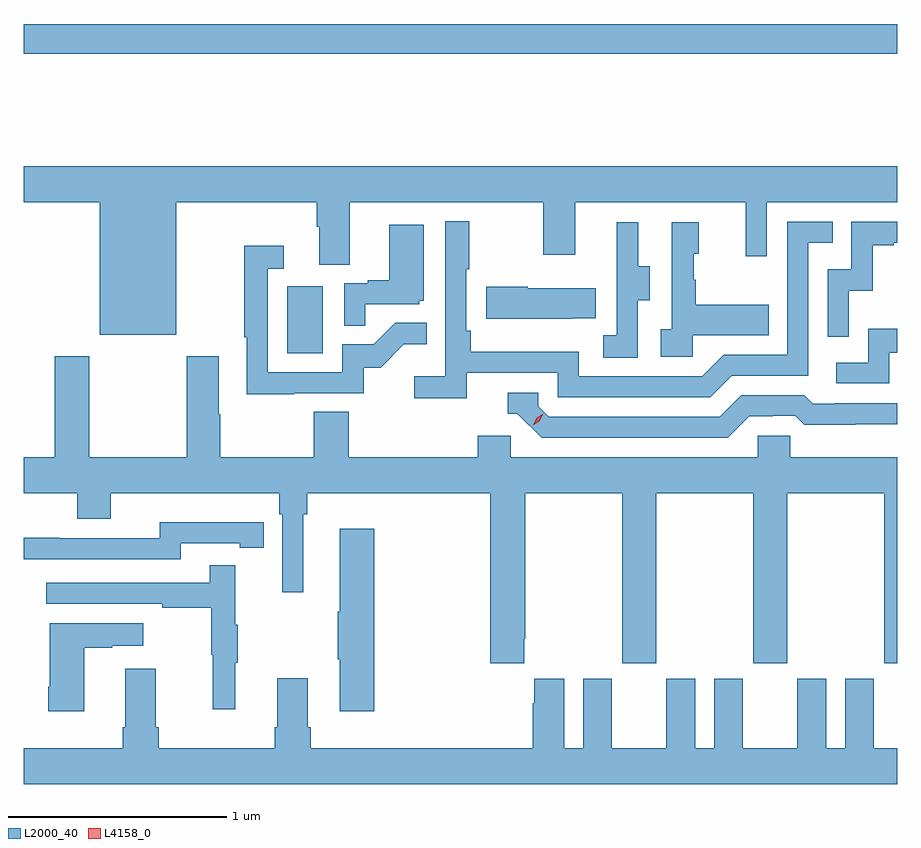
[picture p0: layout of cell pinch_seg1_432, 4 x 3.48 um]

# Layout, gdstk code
import gdstk
lib = gdstk.Library(unit=1e-6, precision=1e-09)
def R(c, l, rs):  # rectangles x0, y0, x1, y1
    for r in rs: c.add(gdstk.rectangle(r[:2], r[2:], *l))
def P(c, l, *ps):  # polygons
    for p in ps: c.add(gdstk.Polygon(p, *l))
L2000_40 = (2000, 40)
L4158_0 = (4158, 0)

pinch_seg1_432 = lib.new_cell('pinch_seg1_432')
R(pinch_seg1_432, L2000_40, [(925.67,523.068,925.834,523.375), (924.464,524.44,928.464,524.576)])
P(pinch_seg1_432, L2000_40, [(925.162,523.76),(925.805,523.76),(925.805,523.648),(925.817,523.648),(925.817,523.474),(925.957,523.474),(925.957,523.76),(926.842,523.76),(926.842,523.52),(926.989,523.52),(926.989,523.76),(927.77,523.76),(927.77,523.512),(927.867,523.512),(927.867,523.76),(928.464,523.76),(928.464,523.924),(924.464,523.924),(924.464,523.76),(924.812,523.76),(924.812,523.154),(925.162,523.154)],
  [(926.492,522.978),(926.91,522.978),(926.91,522.867),(927.607,522.867),(927.706,522.966),(928.056,522.966),(928.056,523.575),(928.169,523.575),(928.169,523.671),(927.96,523.671),(927.96,523.062),(927.669,523.062),(927.57,522.963),(927.006,522.963),(927.006,523.075),(926.51,523.075),(926.51,523.171),(926.49,523.171),(926.49,523.453),(926.503,523.453),(926.503,523.672),(926.394,523.672),(926.394,522.964),(926.253,522.964),(926.253,522.862),(926.492,522.862)],
  [(928.242,523.355),(928.352,523.355),(928.352,523.563),(928.447,523.563),(928.447,523.575),(928.464,523.575),(928.464,523.671),(928.254,523.671),(928.254,523.452),(928.146,523.452),(928.146,523.143),(928.242,523.143)],
  [(927.276,523.312),(927.331,523.312),(927.331,523.467),(927.277,523.467),(927.277,523.669),(927.179,523.669),(927.179,523.455),(927.18,523.455),(927.18,523.151),(927.117,523.151),(927.117,523.048),(927.276,523.048)],
  [(927.528,523.151),(927.875,523.151),(927.875,523.291),(927.541,523.291),(927.541,523.406),(927.531,523.406),(927.531,523.524),(927.556,523.524),(927.556,523.669),(927.432,523.669),(927.432,523.178),(927.381,523.178),(927.381,523.053),(927.528,523.053)],
  [(926.027,523.293),(926.274,523.293),(926.274,523.308),(926.296,523.308),(926.296,523.657),(926.138,523.657),(926.138,523.402),(926.039,523.402),(926.039,523.389),(925.932,523.389),(925.932,523.195),(926.027,523.195)],
  [(925.703,522.885),(926.022,522.885),(926.022,523.002),(926.098,523.002),(926.205,523.109),(926.309,523.109),(926.309,523.208),(926.165,523.208),(926.067,523.11),(925.923,523.11),(925.923,522.981),(925.581,522.981),(925.581,523.455),(925.654,523.455),(925.654,523.561),(925.473,523.561),(925.473,523.141),(925.485,523.141),(925.485,522.88),(925.703,522.88)],
  [(926.975,523.229),(927.083,523.229),(927.083,523.366),(926.773,523.366),(926.773,523.374),(926.582,523.374),(926.582,523.226),(926.975,523.226)],
  [(928.428,523.071),(928.464,523.071),(928.464,523.18),(928.332,523.18),(928.332,523.026),(928.185,523.026),(928.185,522.93),(928.428,522.93)],
  [(926.755,521.761),(926.76,521.761),(926.76,522.428),(927.205,522.428),(927.205,521.649),(927.36,521.649),(927.36,522.428),(927.805,522.428),(927.805,521.649),(927.96,521.649),(927.96,522.428),(928.405,522.428),(928.405,521.649),(928.464,521.649),(928.464,522.592),(927.975,522.592),(927.975,522.69),(927.825,522.69),(927.825,522.592),(926.694,522.592),(926.694,522.69),(926.543,522.69),(926.543,522.592),(925.952,522.592),(925.952,522.8),(925.792,522.8),(925.792,522.592),(925.365,522.592),(925.365,522.788),(925.357,522.788),(925.357,523.054),(925.21,523.054),(925.21,522.592),(924.765,522.592),(924.765,523.054),(924.605,523.054),(924.605,522.592),(924.464,522.592),(924.464,522.428),(924.71,522.428),(924.71,522.311),(924.862,522.311),(924.862,522.428),(925.634,522.428),(925.634,522.332),(925.647,522.332),(925.647,521.973),(925.744,521.973),(925.744,522.332),(925.763,522.332),(925.763,522.428),(926.6,522.428),(926.6,521.649),(926.755,521.649)],
  [(927.787,522.78),(927.894,522.78),(927.894,522.783),(927.997,522.783),(928.039,522.741),(928.272,522.741),(928.272,522.743),(928.464,522.743),(928.464,522.84),(928.177,522.84),(928.177,522.837),(928.078,522.837),(928.039,522.876),(927.75,522.876),(927.651,522.777),(926.868,522.777),(926.82,522.825),(926.82,522.888),(926.681,522.888),(926.681,522.792),(926.724,522.792),(926.835,522.681),(927.688,522.681)],
  [(925.182,522.198),(925.454,522.198),(925.454,522.178),(925.562,522.178),(925.562,522.294),(925.454,522.294),(925.454,522.295),(925.086,522.295),(925.086,522.222),(924.626,522.222),(924.626,522.224),(924.464,522.224),(924.464,522.126),(925.182,522.126)],
  [(926.069,522.265),(925.91,522.265),(925.91,521.885),(925.903,521.885),(925.903,521.668),(925.91,521.668),(925.91,521.43),(926.069,521.43)],
  [(925.433,521.651),(925.444,521.651),(925.444,521.825),(925.433,521.825),(925.433,522.097),(925.315,522.097),(925.315,522.018),(924.567,522.018),(924.567,521.922),(925.099,521.922),(925.099,521.902),(925.323,521.902),(925.323,521.688),(925.33,521.688),(925.33,521.439),(925.433,521.439)],
  [(924.742,521.719),(924.869,521.719),(924.869,521.729),(925.012,521.729),(925.012,521.833),(924.584,521.833),(924.584,521.542),(924.577,521.542),(924.577,521.43),(924.742,521.43)],
  [(928.464,521.26),(928.357,521.26),(928.357,521.578),(928.226,521.578),(928.226,521.26),(928.138,521.26),(928.138,521.578),(928.007,521.578),(928.007,521.26),(927.757,521.26),(927.757,521.578),(927.626,521.578),(927.626,521.26),(927.538,521.26),(927.538,521.578),(927.407,521.578),(927.407,521.26),(927.157,521.26),(927.157,521.578),(927.026,521.578),(927.026,521.26),(926.938,521.26),(926.938,521.578),(926.801,521.578),(926.801,521.465),(926.795,521.465),(926.795,521.26),(925.778,521.26),(925.778,521.356),(925.765,521.356),(925.765,521.581),(925.625,521.581),(925.625,521.356),(925.613,521.356),(925.613,521.26),(925.082,521.26),(925.082,521.356),(925.069,521.356),(925.069,521.623),(924.929,521.623),(924.929,521.356),(924.917,521.356),(924.917,521.26),(924.464,521.26),(924.464,521.096),(928.464,521.096)])
P(pinch_seg1_432, L4158_0, [(926.797,522.739),(926.797,522.739),(926.812,522.772),(926.842,522.792),(926.842,522.792),(926.842,522.792),(926.827,522.759),(926.797,522.739)])

lib.write_gds('pinch_seg1_432.gds')
